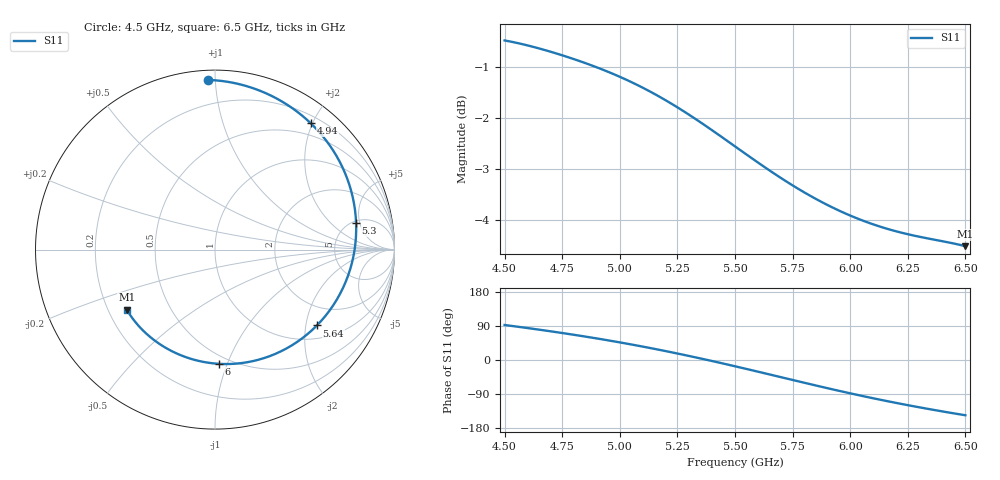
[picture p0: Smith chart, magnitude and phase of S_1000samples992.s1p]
! TOUCHSTONE file generated by CST MICROWAVE STUDIO
! Date and time: Sun Oct 30 00:48:13 2022
! Project name: L.cst
! Parameters = {Di=1.27; Epsilon_r=1.56; InnerDiameter=1.27; Length=2; Lf=10; Lg=60; OuterConductorThickness=0.2921; OuterDiameter=3.6; Wf=3; Wp=41.2; de=1.5; df=6.8; g=0.8; gx=4.8623; gy=3.11463; h=2.34; hf=1.524; px=13.5585; py=8.98869; w=9.7; wx=8.69625; wy=5.87406}
! Header version: 2018
! Port assignment regex: !\s*Touchstone port\s*([0-9]+)\s*=\s*(CST MWS port|CST DS port)\s*([0-9]+|Zmin|Zmax)\s*\(\"(.*)\"\)(\s*mode\s*([0-9]+))?.*
! Touchstone port assignment:
! Touchstone port 1 = CST MWS port 1 ("")
# GHz S DB R 50
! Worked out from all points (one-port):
!   101 points, 4.5 GHz to 6.5 GHz, reference 50 ohm
!   lowest |S11| = -4.5 dB at 6.5 GHz (marker M1), VSWR 3.93, Z = 13.8 - j14.3 ohm
!   |S11| at or under -10 dB: nowhere
!   S11 on the Smith chart (normalised r, x): 4.5 GHz: 0.05, +0.96; 4.94 GHz: 0.31, +1.98; 5.3 GHz: 5.31, +4.38; 5.64 GHz: 1.37, -2.31; 6 GHz: 0.44, -0.94; 6.5 GHz: 0.28, -0.29
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4.5  -0.48 92.4
4.58  -0.56 85.9
4.64  -0.63 80.9
4.76  -0.79 70.3
4.86  -0.94 60.8
4.94  -1.08 52.8
5  -1.20 46.5
5.08  -1.36 37.6
5.14  -1.51 30.6
5.2  -1.66 23.4
5.26  -1.82 15.8
5.3  -1.94 10.7
5.36  -2.12 2.8
5.4  -2.24 -2.6
5.44  -2.37 -8.1
5.5  -2.56 -16.5
5.56  -2.75 -25.1
5.64  -3.00 -36.7
5.7  -3.18 -45.4
5.76  -3.35 -54.1
5.82  -3.51 -62.8
5.88  -3.66 -71.4
5.94  -3.80 -79.7
6  -3.92 -87.9
6.12  -4.12 -103.5
6.26  -4.29 -120.3
6.38  -4.40 -133.5
6.5  -4.52 -145.8
